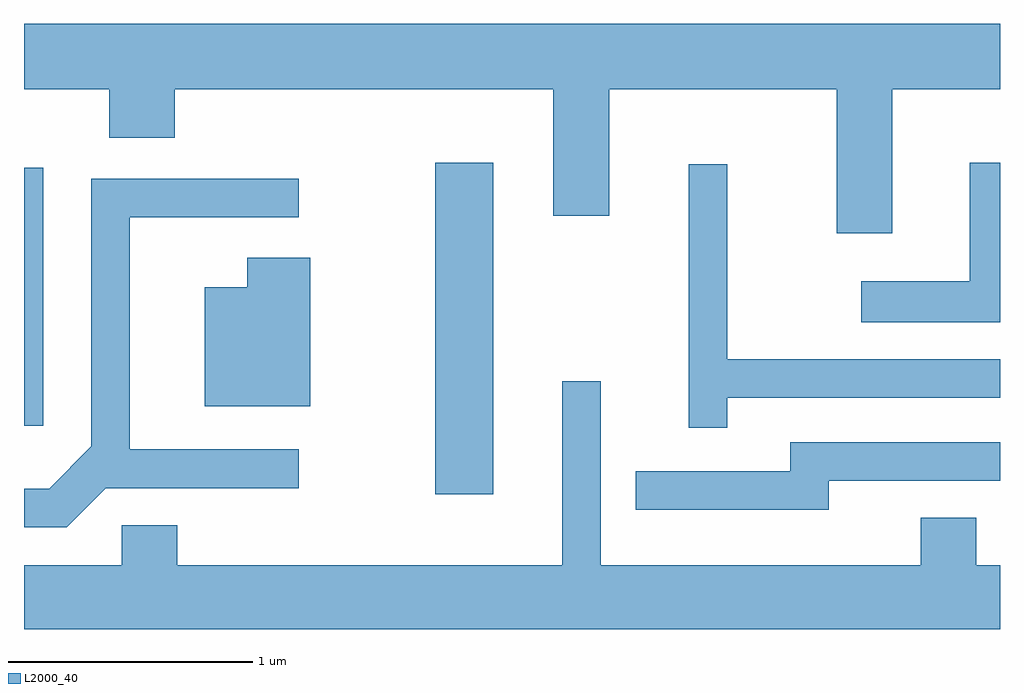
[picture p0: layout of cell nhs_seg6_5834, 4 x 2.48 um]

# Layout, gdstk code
import gdstk
lib = gdstk.Library(unit=1e-6, precision=1e-09)
def R(c, l, rs):  # rectangles x0, y0, x1, y1
    for r in rs: c.add(gdstk.rectangle(r[:2], r[2:], *l))
def P(c, l, *ps):  # polygons
    for p in ps: c.add(gdstk.Polygon(p, *l))
L2000_40 = (2000, 40)

nhs_seg6_5834 = lib.new_cell('nhs_seg6_5834')
R(nhs_seg6_5834, L2000_40, [(363.296,1652.716,363.534,1654.074), (361.611,1652.996,361.689,1654.053)])
P(nhs_seg6_5834, L2000_40, [(365.169,1654.376),(365.611,1654.376),(365.611,1654.644),(361.611,1654.644),(361.611,1654.376),(361.961,1654.376),(361.961,1654.176),(362.229,1654.176),(362.229,1654.376),(363.781,1654.376),(363.781,1653.856),(364.009,1653.856),(364.009,1654.376),(364.941,1654.376),(364.941,1653.786),(365.169,1653.786)],
  [(365.611,1654.074),(365.486,1654.074),(365.486,1653.589),(365.043,1653.589),(365.043,1653.421),(365.611,1653.421)],
  [(364.494,1653.111),(365.611,1653.111),(365.611,1653.269),(364.494,1653.269),(364.494,1654.068),(364.336,1654.068),(364.336,1652.988),(364.494,1652.988)],
  [(361.947,1652.741),(362.738,1652.741),(362.738,1652.899),(362.044,1652.899),(362.044,1653.851),(362.738,1653.851),(362.738,1654.009),(361.886,1654.009),(361.886,1652.912),(361.714,1652.739),(361.611,1652.739),(361.611,1652.581),(361.787,1652.581)],
  [(362.784,1653.684),(362.526,1653.684),(362.526,1653.564),(362.351,1653.564),(362.351,1653.076),(362.784,1653.076)],
  [(365.611,1652.424),(365.514,1652.424),(365.514,1652.619),(365.286,1652.619),(365.286,1652.424),(363.974,1652.424),(363.974,1653.178),(363.816,1653.178),(363.816,1652.424),(362.239,1652.424),(362.239,1652.589),(362.011,1652.589),(362.011,1652.424),(361.611,1652.424),(361.611,1652.162),(365.611,1652.162)],
  [(364.909,1652.771),(365.611,1652.771),(365.611,1652.929),(364.751,1652.929),(364.751,1652.809),(364.118,1652.809),(364.118,1652.651),(364.909,1652.651)])

lib.write_gds('nhs_seg6_5834.gds')
